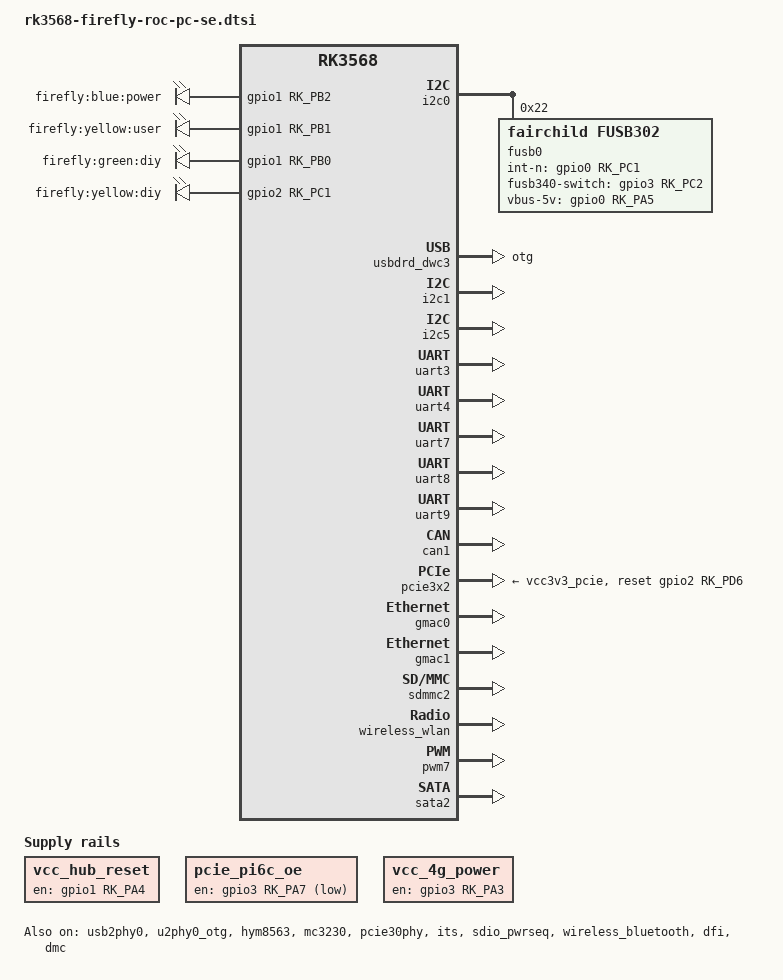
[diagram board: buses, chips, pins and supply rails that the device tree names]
// SPDX-License-Identifier: (GPL-2.0+ OR MIT)
/*
 * Copyright (c) 2020 Rockchip Electronics Co., Ltd.
 *
 */

#include "rk3568-firefly-port.dtsi"

/ {
    dto: dto {
        status = "disabled";
    };

    vcc_hub_reset: vcc-hub-reset-regulator {
        compatible = "regulator-fixed";
        enable-active-high;
        gpio = <&gpio1 RK_PA4 GPIO_ACTIVE_HIGH>;
        pinctrl-names = "default";
        pinctrl-0 = <&vcc_hub_reset_en>;
        regulator-name = "vcc_hub_reset_en";
        regulator-always-on;
    };

    pcie_pi6c_oe: pcie-pi6c-oe-regulator {
        compatible = "regulator-fixed";
        //enable-active-high;
        gpio = <&gpio3 RK_PA7 GPIO_ACTIVE_LOW>;
        pinctrl-names = "default";
        pinctrl-0 = <&pcie_pi6c_oe_en>;
        regulator-name = "pcie_pi6c_oe_en";
        regulator-always-on;
    };

    vcc_4g_power: vcc-4g-power-regulator {
        compatible = "regulator-fixed";
        enable-active-high;
        gpio = <&gpio3 RK_PA3 GPIO_ACTIVE_HIGH>;
        pinctrl-names = "default";
        pinctrl-0 = <&vcc_4g_power_en>;
        regulator-name = "vcc_4g_power_en";
        regulator-always-on;
    };

    firefly_leds: leds {
        status = "okay";
        compatible = "gpio-leds";
        pinctrl-names = "default";
        pinctrl-0 =<&leds_gpio>;

        power_led: power {
            label = "firefly:blue:power";
            linux,default-trigger = "ir-power-click";
            default-state = "on";
            gpios = <&gpio1 RK_PB2 GPIO_ACTIVE_HIGH>;
        };

        user_led: user {
            label = "firefly:yellow:user";
            linux,default-trigger = "ir-user-click";
            default-state = "off";
            gpios = <&gpio1 RK_PB1 GPIO_ACTIVE_HIGH>;
        };

        diy1_led: diy1 {
            label = "firefly:green:diy";
            linux,default-trigger = "ir-user-click";
            default-state = "off";
            gpios = <&gpio1 RK_PB0 GPIO_ACTIVE_HIGH>;
        };

        diy2_led: diy2 {
            label = "firefly:yellow:diy";
            linux,default-trigger = "ir-user-click";
            default-state = "off";
            gpios = <&gpio2 RK_PC1 GPIO_ACTIVE_HIGH>;
        };
    };

};

&vcc3v3_vga {
    status = "disabled";
};

/* VCC5V0_USB30_HOST1 */
&vcc5v0_host {
    gpio = <&gpio0 RK_PA6 GPIO_ACTIVE_HIGH>;
};
&vcc5v0_host_en {
    rockchip,pins = <0 RK_PA6 RK_FUNC_GPIO &pcfg_pull_none>;
};

&i2c0 {
    status = "okay";

    fusb0: fusb30x@22 {
        compatible = "fairchild,fusb302";
        reg = <0x22>;
        pinctrl-names = "default";
        pinctrl-0 = <&fusb0_int>;
        int-n-gpios = <&gpio0 RK_PC1 GPIO_ACTIVE_HIGH>;
        fusb340-switch-gpios = <&gpio3 RK_PC2 GPIO_ACTIVE_HIGH>;
        vbus-5v-gpios = <&gpio0 RK_PA5 GPIO_ACTIVE_HIGH>;
        status = "okay";
    };
};

&vcc5v0_otg{
    status = "disabled";
};

&usb2phy0 {
    status = "okay";
    extcon = <&fusb0>;
};

&u2phy0_otg {
    /delete-property/ vbus-supply;
    status = "okay";
};

&usbdrd_dwc3 {
    dr_mode = "otg";
    extcon = <&fusb0>;
    status = "okay";
};

&i2c1 {
    status = "okay";
};

&i2c5 {
    status = "okay";
};

&hym8563 {
    status = "okay";
};

&mc3230 {
    status = "okay";
};

&uart3 {
    status = "okay";
    pinctrl-0 = <&uart3m1_xfer>;
};

&uart4 {
    status = "okay";
    pinctrl-0 = <&uart4m1_xfer>;
};

&uart7 {
    status = "okay";
    pinctrl-0 = <&uart7m1_xfer>;
};

&uart8 {
    status = "okay";
};

&uart9 {
    status = "okay";
    pinctrl-0 = <&uart9m1_xfer>;
};

&can1{
       status = "okay";
};

&pcie30phy {
    status = "okay";
};

&pcie3x2 {
    reset-gpios = <&gpio2 RK_PD6 GPIO_ACTIVE_HIGH>;
    vpcie3v3-supply = <&vcc3v3_pcie>;
    status = "okay";
};

&its {
    status = "okay";
};

&vcc3v3_lcd1_n {
    status = "disabled";
};

&gmac0 {
    status = "okay";
    tx_delay = <0x4a>;
    rx_delay = <0x2e>;
    wolirq-gpio = <&gpio0 RK_PC4 GPIO_ACTIVE_LOW>;
};

&gmac1 {
    status = "okay";
    tx_delay = <0x3e>;
    rx_delay = <0x32>;
    wolirq-gpio = <&gpio0 RK_PC5 GPIO_ACTIVE_LOW>;
};

&sdio_pwrseq {
    status = "okay";
    reset-gpios = <&gpio3 RK_PD5 GPIO_ACTIVE_LOW>;
    post-power-on-delay-ms = <100>;
};

/* used for wifi */
&sdmmc2 {
    status = "okay";
};

&wireless_wlan {
    wifi_chip_type = "ap6256";
    status = "okay";
};

&wireless_bluetooth {
    status = "okay";
    BT,wake_gpio     = <&gpio3 RK_PA2 GPIO_ACTIVE_HIGH>;
    BT,wake_host_irq = <&gpio3 RK_PA1 GPIO_ACTIVE_HIGH>;
};

&spdif_8ch{
    status = "disabled";
};

&rk809_codec {
    //hp-det = <&gpio3 RK_PC2 GPIO_ACTIVE_LOW>;
    io-channels = <&saradc 7>;
    hp-det-adc-value = <1000>;
    hp-adc-drift-scope = <100>;
    hp-volume = <3>;
    spk-volume = <3>;
    /delete-property/ spk-ctl;
};

&rk809 {
    rtc {
        status = "disabled";
    };
};

&pwm7 {
    status = "okay";
};

&sata2 {
    status = "okay";
};

&dfi {
    status = "okay";
};

&dmc {
    status = "okay";
};

&pinctrl {
    usb {
        vcc_hub_reset_en: vcc-hub-reset-en {
            rockchip,pins = <1 RK_PA4 RK_FUNC_GPIO &pcfg_pull_none>;
        };
    };

    pcie {
        pcie_pi6c_oe_en: pcie-pi6c-oe-en {
            rockchip,pins = <3 RK_PA7 RK_FUNC_GPIO &pcfg_pull_none>;
        };
    };


    leds {
        leds_gpio: leds-gpio {
            rockchip,pins =
            /* led_power */
            <1 RK_PB2 RK_FUNC_GPIO &pcfg_pull_none>,
            /* led_user */
            <1 RK_PB1 RK_FUNC_GPIO &pcfg_pull_none>,
            /* led diy1 */
            <1 RK_PB0 RK_FUNC_GPIO &pcfg_pull_none>,
            /* led diy2 */
            <2 RK_PC1 RK_FUNC_GPIO &pcfg_pull_none>;
        };
    };

    fusb30x{
        fusb0_int: fusb0-int{
            rockchip,pins = <0 RK_PC1 RK_FUNC_GPIO &pcfg_pull_up>;
        };
    };

    4g {
        vcc_4g_power_en: vcc-4g-power-en {
            rockchip,pins = <3 RK_PA3 RK_FUNC_GPIO &pcfg_pull_none>;
        };
    };
};
